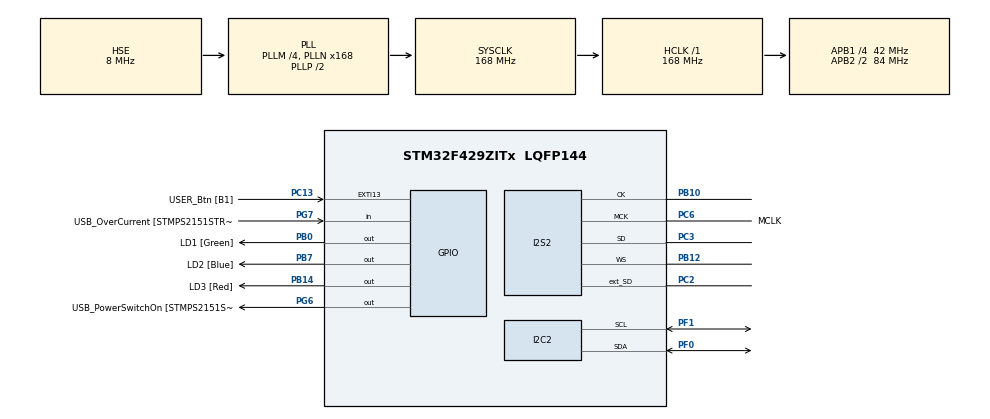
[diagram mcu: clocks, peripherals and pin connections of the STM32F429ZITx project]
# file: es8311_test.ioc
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Dma.I2S2_EXT_RX.1.Direction=DMA_PERIPH_TO_MEMORY
Dma.I2S2_EXT_RX.1.FIFOMode=DMA_FIFOMODE_DISABLE
Dma.I2S2_EXT_RX.1.Instance=DMA1_Stream3
Dma.I2S2_EXT_RX.1.MemDataAlignment=DMA_MDATAALIGN_HALFWORD
Dma.I2S2_EXT_RX.1.MemInc=DMA_MINC_ENABLE
Dma.I2S2_EXT_RX.1.Mode=DMA_CIRCULAR
Dma.I2S2_EXT_RX.1.PeriphDataAlignment=DMA_PDATAALIGN_HALFWORD
Dma.I2S2_EXT_RX.1.PeriphInc=DMA_PINC_DISABLE
Dma.I2S2_EXT_RX.1.Priority=DMA_PRIORITY_VERY_HIGH
Dma.Request0=SPI2_TX
Dma.Request1=I2S2_EXT_RX
Dma.SPI2_TX.0.Direction=DMA_MEMORY_TO_PERIPH
Dma.SPI2_TX.0.FIFOMode=DMA_FIFOMODE_DISABLE
Dma.SPI2_TX.0.Instance=DMA1_Stream4
Dma.SPI2_TX.0.MemDataAlignment=DMA_MDATAALIGN_HALFWORD
Dma.SPI2_TX.0.MemInc=DMA_MINC_ENABLE
Dma.SPI2_TX.0.Mode=DMA_CIRCULAR
Dma.SPI2_TX.0.PeriphDataAlignment=DMA_PDATAALIGN_HALFWORD
Dma.SPI2_TX.0.PeriphInc=DMA_PINC_DISABLE
Dma.SPI2_TX.0.Priority=DMA_PRIORITY_VERY_HIGH
I2S2.DataFormat=I2S_DATAFORMAT_16B_EXTENDED
I2S2.ErrorAudioFreq=1.01 %
I2S2.FullDuplexMode=I2S_FULLDUPLEXMODE_ENABLE
I2S2.Instance=SPI$Index
I2S2.RealAudioFreq=8.081 KHz
I2S2.Standard=I2S_STANDARD_PHILIPS
I2S2.VirtualMode=I2S_MODE_MASTER
Mcu.Family=STM32F4
Mcu.Name=STM32F429ZITx
Mcu.Package=LQFP144
NVIC.DMA1_Stream3_IRQn=true\:0\:0\:false\:false\:true\:false\:true\:true
NVIC.DMA1_Stream4_IRQn=true\:0\:0\:false\:false\:true\:false\:true\:true
NVIC.PriorityGroup=NVIC_PRIORITYGROUP_4
PA1.GPIO_Label=RMII_REF_CLK [LAN8742A-CZ-TR_REFCLK0]
PA1.Signal=ETH_REF_CLK
PA10.GPIO_Label=USB_ID
PA10.Signal=USB_OTG_FS_ID
PA11.GPIO_Label=USB_DM
PA11.Signal=USB_OTG_FS_DM
PA12.GPIO_Label=USB_DP
PA12.Signal=USB_OTG_FS_DP
PA13.GPIO_Label=TMS
PA13.Mode=Serial_Wire
PA13.Signal=SYS_JTMS-SWDIO
PA14.GPIO_Label=TCK
PA14.Mode=Serial_Wire
PA14.Signal=SYS_JTCK-SWCLK
PA2.GPIO_Label=RMII_MDIO [LAN8742A-CZ-TR_MDIO]
PA2.Signal=ETH_MDIO
PA7.GPIO_Label=RMII_CRS_DV [LAN8742A-CZ-TR_CRS_DV]
PA7.Signal=ETH_CRS_DV
PA8.GPIO_Label=USB_SOF [TP1]
PA8.Signal=USB_OTG_FS_SOF
PA9.GPIO_Label=USB_VBUS
PA9.Signal=USB_OTG_FS_VBUS
PB0.GPIO_Label=LD1 [Green]
PB0.Signal=GPIO_Output
PB10.GPIO_Mode=GPIO_MODE_AF_PP
PB10.GPIO_PuPd=GPIO_NOPULL
PB10.GPIO_Speed=GPIO_SPEED_FREQ_VERY_HIGH
PB10.Mode=Full_Duplex_Master
PB10.Signal=I2S2_CK
PB12.GPIO_Mode=GPIO_MODE_AF_PP
PB12.GPIO_PuPd=GPIO_NOPULL
PB12.GPIO_Speed=GPIO_SPEED_FREQ_VERY_HIGH
PB12.Mode=Full_Duplex_Master
PB12.Signal=I2S2_WS
PB13.GPIO_Label=RMII_TXD1 [LAN8742A-CZ-TR_TXD1]
PB13.Signal=ETH_TXD1
PB14.GPIO_Label=LD3 [Red]
PB14.Signal=GPIO_Output
PB7.GPIO_Label=LD2 [Blue]
PB7.Signal=GPIO_Output
PC1.GPIO_Label=RMII_MDC [LAN8742A-CZ-TR_MDC]
PC1.Signal=ETH_MDC
PC13.GPIO_Label=USER_Btn [B1]
PC13.Signal=GPXTI13
PC14/OSC32_IN.Mode=LSE-External-Oscillator
PC14/OSC32_IN.Signal=RCC_OSC32_IN
PC15/OSC32_OUT.Mode=LSE-External-Oscillator
PC15/OSC32_OUT.Signal=RCC_OSC32_OUT
PC2.GPIO_Speed=GPIO_SPEED_FREQ_VERY_HIGH
PC2.Mode=Full_Duplex_Master
PC2.Signal=I2S2_ext_SD
PC3.GPIO_Mode=GPIO_MODE_AF_PP
PC3.GPIO_PuPd=GPIO_NOPULL
PC3.GPIO_Speed=GPIO_SPEED_FREQ_VERY_HIGH
PC3.Mode=Full_Duplex_Master
PC3.Signal=I2S2_SD
PC4.GPIO_Label=RMII_RXD0 [LAN8742A-CZ-TR_RXD0]
PC4.Signal=ETH_RXD0
PC5.GPIO_Label=RMII_RXD1 [LAN8742A-CZ-TR_RXD1]
PC5.Signal=ETH_RXD1
PC6.GPIO_Label=MCLK
PC6.GPIO_Speed=GPIO_SPEED_FREQ_VERY_HIGH
PC6.Mode=Master_Clock_Activated
PC6.Signal=I2S2_MCK
PD8.GPIO_Label=STLK_RX [STM32F103CBT6_PA3]
PD8.Signal=USART3_TX
PD9.GPIO_Label=STLK_TX [STM32F103CBT6_PA2]
PD9.Signal=USART3_RX
PF0.GPIO_Pu=GPIO_PULLUP
PF0.Mode=I2C
PF0.Signal=I2C2_SDA
PF1.GPIO_Pu=GPIO_PULLUP
PF1.Mode=I2C
PF1.Signal=I2C2_SCL
PG11.GPIO_Label=RMII_TX_EN [LAN8742A-CZ-TR_TXEN]
PG11.Signal=ETH_TX_EN
PG13.GPIO_Label=RMII_TXD0 [LAN8742A-CZ-TR_TXD0]
PG13.Signal=ETH_TXD0
PG6.GPIO_Label=USB_PowerSwitchOn [STMPS2151STR_EN]
PG6.Signal=GPIO_Output
PG7.GPIO_Label=USB_OverCurrent [STMPS2151STR_FAULT]
PG7.Signal=GPIO_Input
PH0/OSC_IN.GPIO_Label=MCO [STM32F103CBT6_PA8]
PH0/OSC_IN.Mode=HSE-External-Clock-Source
PH0/OSC_IN.Signal=RCC_OSC_IN
PH1/OSC_OUT.Mode=HSE-External-Clock-Source
PH1/OSC_OUT.Signal=RCC_OSC_OUT
ProjectManager.HeapSize=0x200
ProjectManager.StackSize=0x400
ProjectManager.TargetToolchain=STM32CubeIDE
RCC.48MHZClocksFreq_Value=48000000
RCC.AHBFreq_Value=168000000
RCC.APB1CLKDivider=RCC_HCLK_DIV4
RCC.APB1Freq_Value=42000000
RCC.APB1TimFreq_Value=84000000
RCC.APB2CLKDivider=RCC_HCLK_DIV2
RCC.APB2Freq_Value=84000000
RCC.APB2TimCLKDivider=2
RCC.APB2TimFreq_Value=168000000
RCC.CortexFreq_Value=168000000
RCC.HCLKFreq_Value=168000000
RCC.HSE_VALUE=8000000
RCC.HSI_VALUE=16000000
RCC.PLLI2SN=60
RCC.PLLM=4
RCC.PLLMUL=RCC_PLL_MUL9
RCC.PLLN=168
RCC.PLLQ=7
RCC.PLLSourceVirtual=RCC_PLLSOURCE_HSE
RCC.PRESCALERUSB=RCC_USBCLKSOURCE_PLL_DIV1_5
RCC.SYSCLKFreq_VALUE=168000000
RCC.SYSCLKSource=RCC_SYSCLKSOURCE_PLLCLK
RCC.SYSCLKSourceVirtual=RCC_SYSCLKSOURCE_PLLCLK
RCC.USBFreq_Value=48000000
RCC.VCOOutputFreq_Value=336000000
board=NUCLEO-F429ZI

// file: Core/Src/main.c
/* USER CODE BEGIN Header */
/**
  ******************************************************************************
  * @file           : main.c
  * @brief          : Main program body
  ******************************************************************************
  * @attention
  *
  * Copyright (c) 2022 STMicroelectronics.
  * All rights reserved.
  *
  * This software is licensed under terms that can be found in the LICENSE file
  * in the root directory of this software component.
  * If no LICENSE file comes with this software, it is provided AS-IS.
  *
  ******************************************************************************
  */
/* USER CODE END Header */
#include "main.h"

/* USER CODE BEGIN Includes */
#include "es8311.h"
#include <string.h>
/* USER CODE END Includes */

/* USER CODE BEGIN PD */

#define SAMPLES_QTY			160
/* USER CODE END PD */

 I2C_HandleTypeDef hi2c2;

I2S_HandleTypeDef hi2s2;
DMA_HandleTypeDef hdma_spi2_tx;
DMA_HandleTypeDef hdma_i2s2_ext_rx;

/* USER CODE BEGIN PV */
uint16_t buffer_Tx[BUFFER_LENGHT];
uint16_t buffer_Rx[BUFFER_LENGHT];
uint16_t *pingPong_Tx;
uint16_t *pingPong_Rx;
bool changeBuffer = false;

/* USER CODE END PV */

void SystemClock_Config(void);
static void MX_GPIO_Init(void);
static void MX_I2C2_Init(void);
static void MX_DMA_Init(void);
static void MX_I2S2_Init(void);

/* USER CODE BEGIN 0 */

void HAL_I2SEx_TxRxHalfCpltCallback(I2S_HandleTypeDef *hi2s)  {

	/**
	 * Esta interrupcion se da cuando se llega a BUFFER_SIZE/2
	 * Asi que cambiamos el puntero de envio a la primer mitad.
	 * Se supone que la segunda mitad ya tiene datos
	 */
	pingPong_Tx = buffer_Tx;
	pingPong_Rx = buffer_Rx;
	changeBuffer = true;

}

void HAL_I2SEx_TxRxCpltCallback(I2S_HandleTypeDef *hi2s)  {

	/**
	 * Esta interrupcion se da cuando se llega a BUFFER_SIZE
	 * Asi que cambiamos el puntero de envio a la segunda mitad.
	 * Se supone que la segunda mitad ya tiene datos
	 */
	pingPong_Tx = buffer_Tx + (BUFFER_LENGHT / 2);		//segunda mitad
	pingPong_Rx = buffer_Rx + (BUFFER_LENGHT / 2);		//segunda mitad
	changeBuffer = true;
}

/* USER CODE END 0 */

int main(void)
{

  /* MCU Configuration--------------------------------------------------------*/

  /* Reset of all peripherals, Initializes the Flash interface and the Systick. */
  HAL_Init();

  /* Configure the system clock */
  SystemClock_Config();

  /* Initialize all configured peripherals */
  MX_GPIO_Init();
  MX_I2C2_Init();
  MX_DMA_Init();
  MX_I2S2_Init();
  /* USER CODE BEGIN 2 */

  if(!ES8311_init(SAMPLING_8K))
	  while(1);
  /**
   * Primera posicion del ping pong buffer
   */
  pingPong_Tx = buffer_Tx;
  pingPong_Rx = buffer_Rx;

  bzero(buffer_Tx,BUFFER_LENGHT);
  bzero(buffer_Rx,BUFFER_LENGHT);

  HAL_I2SEx_TransmitReceive_DMA(&hi2s2, buffer_Tx, buffer_Rx, BUFFER_LENGHT);

  /* USER CODE END 2 */

  /* Infinite loop */
  /* USER CODE BEGIN WHILE */
  while (1)
  {
	  if(changeBuffer)  {
		  /**
		   * Copiar el siguiente tramo de onda al buffer de salida
		   */
		  memcpy(pingPong_Tx,pingPong_Rx,(sizeof(uint16_t) * BUFFER_LENGHT/2));
		  changeBuffer = false;
	  }

    /* USER CODE END WHILE */

  }
}

void SystemClock_Config(void)
{
  RCC_OscInitTypeDef RCC_OscInitStruct = {0};
  RCC_ClkInitTypeDef RCC_ClkInitStruct = {0};

  /** Configure the main internal regulator output voltage
  */
  __HAL_RCC_PWR_CLK_ENABLE();
  __HAL_PWR_VOLTAGESCALING_CONFIG(PWR_REGULATOR_VOLTAGE_SCALE1);

  /** Initializes the RCC Oscillators according to the specified parameters
  * in the RCC_OscInitTypeDef structure.
  */
  RCC_OscInitStruct.OscillatorType = RCC_OSCILLATORTYPE_HSE;
  RCC_OscInitStruct.HSEState = RCC_HSE_BYPASS;
  RCC_OscInitStruct.PLL.PLLState = RCC_PLL_ON;
  RCC_OscInitStruct.PLL.PLLSource = RCC_PLLSOURCE_HSE;
  RCC_OscInitStruct.PLL.PLLM = 4;
  RCC_OscInitStruct.PLL.PLLN = 168;
  RCC_OscInitStruct.PLL.PLLP = RCC_PLLP_DIV2;
  RCC_OscInitStruct.PLL.PLLQ = 7;
  if (HAL_RCC_OscConfig(&RCC_OscInitStruct) != HAL_OK)
  {
    Error_Handler();
  }

  /** Initializes the CPU, AHB and APB buses clocks
  */
  RCC_ClkInitStruct.ClockType = RCC_CLOCKTYPE_HCLK|RCC_CLOCKTYPE_SYSCLK
                              |RCC_CLOCKTYPE_PCLK1|RCC_CLOCKTYPE_PCLK2;
  RCC_ClkInitStruct.SYSCLKSource = RCC_SYSCLKSOURCE_PLLCLK;
  RCC_ClkInitStruct.AHBCLKDivider = RCC_SYSCLK_DIV1;
  RCC_ClkInitStruct.APB1CLKDivider = RCC_HCLK_DIV4;
  RCC_ClkInitStruct.APB2CLKDivider = RCC_HCLK_DIV2;

  if (HAL_RCC_ClockConfig(&RCC_ClkInitStruct, FLASH_LATENCY_5) != HAL_OK)
  {
    Error_Handler();
  }
}

static void MX_I2C2_Init(void)
{

  hi2c2.Instance = I2C2;
  hi2c2.Init.ClockSpeed = 100000;
  hi2c2.Init.DutyCycle = I2C_DUTYCYCLE_2;
  hi2c2.Init.OwnAddress1 = 0;
  hi2c2.Init.AddressingMode = I2C_ADDRESSINGMODE_7BIT;
  hi2c2.Init.DualAddressMode = I2C_DUALADDRESS_DISABLE;
  hi2c2.Init.OwnAddress2 = 0;
  hi2c2.Init.GeneralCallMode = I2C_GENERALCALL_DISABLE;
  hi2c2.Init.NoStretchMode = I2C_NOSTRETCH_DISABLE;
  if (HAL_I2C_Init(&hi2c2) != HAL_OK)
  {
    Error_Handler();
  }

  /** Configure Analogue filter
  */
  if (HAL_I2CEx_ConfigAnalogFilter(&hi2c2, I2C_ANALOGFILTER_ENABLE) != HAL_OK)
  {
    Error_Handler();
  }

  /** Configure Digital filter
  */
  if (HAL_I2CEx_ConfigDigitalFilter(&hi2c2, 0) != HAL_OK)
  {
    Error_Handler();
  }

}

static void MX_I2S2_Init(void)
{

  hi2s2.Instance = SPI2;
  hi2s2.Init.Mode = I2S_MODE_MASTER_TX;
  hi2s2.Init.Standard = I2S_STANDARD_PHILIPS;
  hi2s2.Init.DataFormat = I2S_DATAFORMAT_16B_EXTENDED;
  hi2s2.Init.MCLKOutput = I2S_MCLKOUTPUT_ENABLE;
  hi2s2.Init.AudioFreq = I2S_AUDIOFREQ_8K;
  hi2s2.Init.CPOL = I2S_CPOL_LOW;
  hi2s2.Init.ClockSource = I2S_CLOCK_PLL;
  hi2s2.Init.FullDuplexMode = I2S_FULLDUPLEXMODE_ENABLE;
  if (HAL_I2S_Init(&hi2s2) != HAL_OK)
  {
    Error_Handler();
  }

}

static void MX_DMA_Init(void)
{

  /* DMA controller clock enable */
  __HAL_RCC_DMA1_CLK_ENABLE();

  /* DMA interrupt init */
  /* DMA1_Stream3_IRQn interrupt configuration */
  HAL_NVIC_SetPriority(DMA1_Stream3_IRQn, 0, 0);
  HAL_NVIC_EnableIRQ(DMA1_Stream3_IRQn);
  /* DMA1_Stream4_IRQn interrupt configuration */
  HAL_NVIC_SetPriority(DMA1_Stream4_IRQn, 0, 0);
  HAL_NVIC_EnableIRQ(DMA1_Stream4_IRQn);

}

static void MX_GPIO_Init(void)
{
  GPIO_InitTypeDef GPIO_InitStruct = {0};

  /* GPIO Ports Clock Enable */
  __HAL_RCC_GPIOC_CLK_ENABLE();
  __HAL_RCC_GPIOF_CLK_ENABLE();
  __HAL_RCC_GPIOH_CLK_ENABLE();
  __HAL_RCC_GPIOA_CLK_ENABLE();
  __HAL_RCC_GPIOB_CLK_ENABLE();
  __HAL_RCC_GPIOD_CLK_ENABLE();
  __HAL_RCC_GPIOG_CLK_ENABLE();

  /*Configure GPIO pin Output Level */
  HAL_GPIO_WritePin(GPIOB, LD1_Pin|LD3_Pin|LD2_Pin, GPIO_PIN_RESET);

  /*Configure GPIO pin Output Level */
  HAL_GPIO_WritePin(USB_PowerSwitchOn_GPIO_Port, USB_PowerSwitchOn_Pin, GPIO_PIN_RESET);

  /*Configure GPIO pin : USER_Btn_Pin */
  GPIO_InitStruct.Pin = USER_Btn_Pin;
  GPIO_InitStruct.Mode = GPIO_MODE_IT_RISING;
  GPIO_InitStruct.Pull = GPIO_NOPULL;
  HAL_GPIO_Init(USER_Btn_GPIO_Port, &GPIO_InitStruct);

  /*Configure GPIO pins : RMII_MDC_Pin RMII_RXD0_Pin RMII_RXD1_Pin */
  GPIO_InitStruct.Pin = RMII_MDC_Pin|RMII_RXD0_Pin|RMII_RXD1_Pin;
  GPIO_InitStruct.Mode = GPIO_MODE_AF_PP;
  GPIO_InitStruct.Pull = GPIO_NOPULL;
  GPIO_InitStruct.Speed = GPIO_SPEED_FREQ_VERY_HIGH;
  GPIO_InitStruct.Alternate = GPIO_AF11_ETH;
  HAL_GPIO_Init(GPIOC, &GPIO_InitStruct);

  /*Configure GPIO pins : RMII_REF_CLK_Pin RMII_MDIO_Pin RMII_CRS_DV_Pin */
  GPIO_InitStruct.Pin = RMII_REF_CLK_Pin|RMII_MDIO_Pin|RMII_CRS_DV_Pin;
  GPIO_InitStruct.Mode = GPIO_MODE_AF_PP;
  GPIO_InitStruct.Pull = GPIO_NOPULL;
  GPIO_InitStruct.Speed = GPIO_SPEED_FREQ_VERY_HIGH;
  GPIO_InitStruct.Alternate = GPIO_AF11_ETH;
  HAL_GPIO_Init(GPIOA, &GPIO_InitStruct);

  /*Configure GPIO pins : LD1_Pin LD3_Pin LD2_Pin */
  GPIO_InitStruct.Pin = LD1_Pin|LD3_Pin|LD2_Pin;
  GPIO_InitStruct.Mode = GPIO_MODE_OUTPUT_PP;
  GPIO_InitStruct.Pull = GPIO_NOPULL;
  GPIO_InitStruct.Speed = GPIO_SPEED_FREQ_LOW;
  HAL_GPIO_Init(GPIOB, &GPIO_InitStruct);

  /*Configure GPIO pin : RMII_TXD1_Pin */
  GPIO_InitStruct.Pin = RMII_TXD1_Pin;
  GPIO_InitStruct.Mode = GPIO_MODE_AF_PP;
  GPIO_InitStruct.Pull = GPIO_NOPULL;
  GPIO_InitStruct.Speed = GPIO_SPEED_FREQ_VERY_HIGH;
  GPIO_InitStruct.Alternate = GPIO_AF11_ETH;
  HAL_GPIO_Init(RMII_TXD1_GPIO_Port, &GPIO_InitStruct);

  /*Configure GPIO pins : STLK_RX_Pin STLK_TX_Pin */
  GPIO_InitStruct.Pin = STLK_RX_Pin|STLK_TX_Pin;
  GPIO_InitStruct.Mode = GPIO_MODE_AF_PP;
  GPIO_InitStruct.Pull = GPIO_NOPULL;
  GPIO_InitStruct.Speed = GPIO_SPEED_FREQ_VERY_HIGH;
  GPIO_InitStruct.Alternate = GPIO_AF7_USART3;
  HAL_GPIO_Init(GPIOD, &GPIO_InitStruct);

  /*Configure GPIO pin : USB_PowerSwitchOn_Pin */
  GPIO_InitStruct.Pin = USB_PowerSwitchOn_Pin;
  GPIO_InitStruct.Mode = GPIO_MODE_OUTPUT_PP;
  GPIO_InitStruct.Pull = GPIO_NOPULL;
  GPIO_InitStruct.Speed = GPIO_SPEED_FREQ_LOW;
  HAL_GPIO_Init(USB_PowerSwitchOn_GPIO_Port, &GPIO_InitStruct);

  /*Configure GPIO pin : USB_OverCurrent_Pin */
  GPIO_InitStruct.Pin = USB_OverCurrent_Pin;
  GPIO_InitStruct.Mode = GPIO_MODE_INPUT;
  GPIO_InitStruct.Pull = GPIO_NOPULL;
  HAL_GPIO_Init(USB_OverCurrent_GPIO_Port, &GPIO_InitStruct);

  /*Configure GPIO pins : USB_SOF_Pin USB_ID_Pin USB_DM_Pin USB_DP_Pin */
  GPIO_InitStruct.Pin = USB_SOF_Pin|USB_ID_Pin|USB_DM_Pin|USB_DP_Pin;
  GPIO_InitStruct.Mode = GPIO_MODE_AF_PP;
  GPIO_InitStruct.Pull = GPIO_NOPULL;
  GPIO_InitStruct.Speed = GPIO_SPEED_FREQ_VERY_HIGH;
  GPIO_InitStruct.Alternate = GPIO_AF10_OTG_FS;
  HAL_GPIO_Init(GPIOA, &GPIO_InitStruct);

  /*Configure GPIO pin : USB_VBUS_Pin */
  GPIO_InitStruct.Pin = USB_VBUS_Pin;
  GPIO_InitStruct.Mode = GPIO_MODE_INPUT;
  GPIO_InitStruct.Pull = GPIO_NOPULL;
  HAL_GPIO_Init(USB_VBUS_GPIO_Port, &GPIO_InitStruct);

  /*Configure GPIO pins : RMII_TX_EN_Pin RMII_TXD0_Pin */
  GPIO_InitStruct.Pin = RMII_TX_EN_Pin|RMII_TXD0_Pin;
  GPIO_InitStruct.Mode = GPIO_MODE_AF_PP;
  GPIO_InitStruct.Pull = GPIO_NOPULL;
  GPIO_InitStruct.Speed = GPIO_SPEED_FREQ_VERY_HIGH;
  GPIO_InitStruct.Alternate = GPIO_AF11_ETH;
  HAL_GPIO_Init(GPIOG, &GPIO_InitStruct);

}

void Error_Handler(void)
{
  __disable_irq();
  while (1)
  {
  }
}
